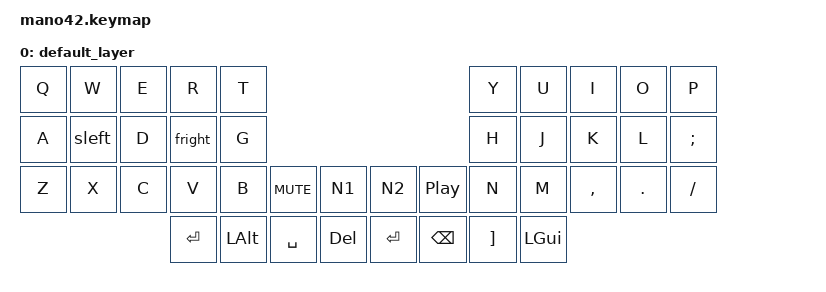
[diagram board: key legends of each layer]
/*
 * Copyright (c) 2022 The ZMK Contributors
 *
 * SPDX-License-Identifier: MIT
 */

#include <behaviors.dtsi>
#include <dt-bindings/zmk/keys.h>
#include <dt-bindings/zmk/bt.h>
#include <dt-bindings/zmk/outputs.h>

/ {
    

    keymap {
        compatible = "zmk,keymap";

        default_layer {
//   ------------------------------------------------------------------------------------------------------------
//  0|  ESC  |  1  |  2  |  3   |  4   |  5   |                     |  6   |  7    |  8    |  9   |   0   |   =   | 11
// 12|  TAB  |  Q  |  W  |  E   |  R   |  T   |                     |  Y   |  U    |  I    |  O   |   P   |   [   | 23
// 24|  SFT  |  A  |  S  |  D   |  F   |  G   |  RESET  |  | RESET  |  H   |  J    |  K    |  L   |   ;   | ' SFT | 37
// 38|  CTRL |  Z  |  X  |  C   |  V   |  B   |  MUTE   |  | PLAY   |  N   |  M    |  ,    |  .   |   /   | \ CTRL| 51
// 52                    |ENT RS|  ALT | SPACE|DELETE LW|  |ENTER RS| BSPC |  ] LW | RGUI  |                        59
            bindings = <
                            
&kp Q  &kp W    &kp E      &kp R     &kp T                                                  &kp Y     &kp U       &kp I     &kp O    &kp P    
&kp A  &sleft   &kp D      &fright   &kp G                                                  &kp H     &kp J       &kp K     &kp L    &kp SEMI 
&kp Z  &kp X    &kp C      &kp V     &kp B      &kp C_MUTE &N1           &N2  &kp C_PP      &kp N     &kp M       &kp COMMA &kp DOT  &kp FSLH
                           &kp RET  &kp LALT  &kp SPACE &kp DEL            &kp RET  &kp BSPC &kp RBKT  &kp LGUI  
            >;

           
        };

        

      
    };
};
